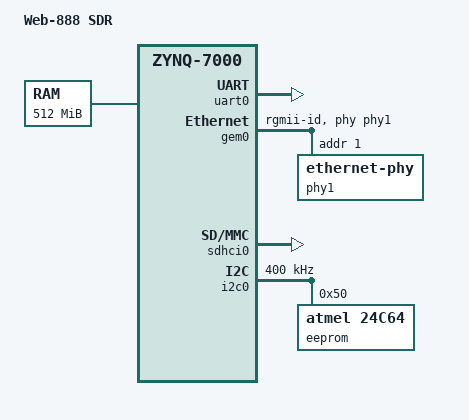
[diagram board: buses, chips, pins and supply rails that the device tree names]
// SPDX-License-Identifier: GPL-2.0+
/*
 * Web-888 SDR (Zynq-7010) U-Boot device tree — step 6.
 * No-SPL build: the stock FSBL loads u-boot.bin directly, so this DT
 * is only for U-Boot proper. Console MUST be uart0 @e0000000 (mainline
 * zynq boards default to uart1 — wrong for this board).
 * Node facts mirror config/web888.dts / the stock boot.bin DTB:
 *  - ps_clk = 33.333 MHz (stock dts ps-clk-frequency 0x1fca055)
 *  - gem0 @e000b000 rgmii-id PHY @ addr 1, sdhci0 @e0100000 (TF card)
 *  - 24c64 EEPROM on i2c0 @0x50 (factory MAC @0x10, read into ethaddr by
 *    the WEB888_EEPROM_MAC board hook — patch 0002)
 */
/dts-v1/;
#include "zynq-7000.dtsi"

/ {
	model = "Web-888 SDR";
	compatible = "rx888,web-888", "xlnx,zynq-7000";

	aliases {
		serial0 = &uart0;
		ethernet0 = &gem0;
		mmc0 = &sdhci0;
		i2c0 = &i2c0;
	};

	chosen {
		stdout-path = "serial0:115200n8";
	};

	memory@0 {
		device_type = "memory";
		reg = <0x0 0x20000000>;
	};
};

&clkc {
	ps-clk-frequency = <33333333>;
};

&uart0 {
	status = "okay";
};

&gem0 {
	status = "okay";
	phy-mode = "rgmii-id";
	phy-handle = <&phy1>;

	phy1: ethernet-phy@1 {
		reg = <1>;
	};
};

&sdhci0 {
	status = "okay";
};

&i2c0 {
	status = "okay";
	clock-frequency = <400000>;

	eeprom@50 {
		compatible = "atmel,24c64";
		reg = <0x50>;
		pagesize = <32>;
		/* 24c64 uses 2-byte memory addressing; the DM default is 1. */
		u-boot,i2c-offset-len = <2>;
	};
};
